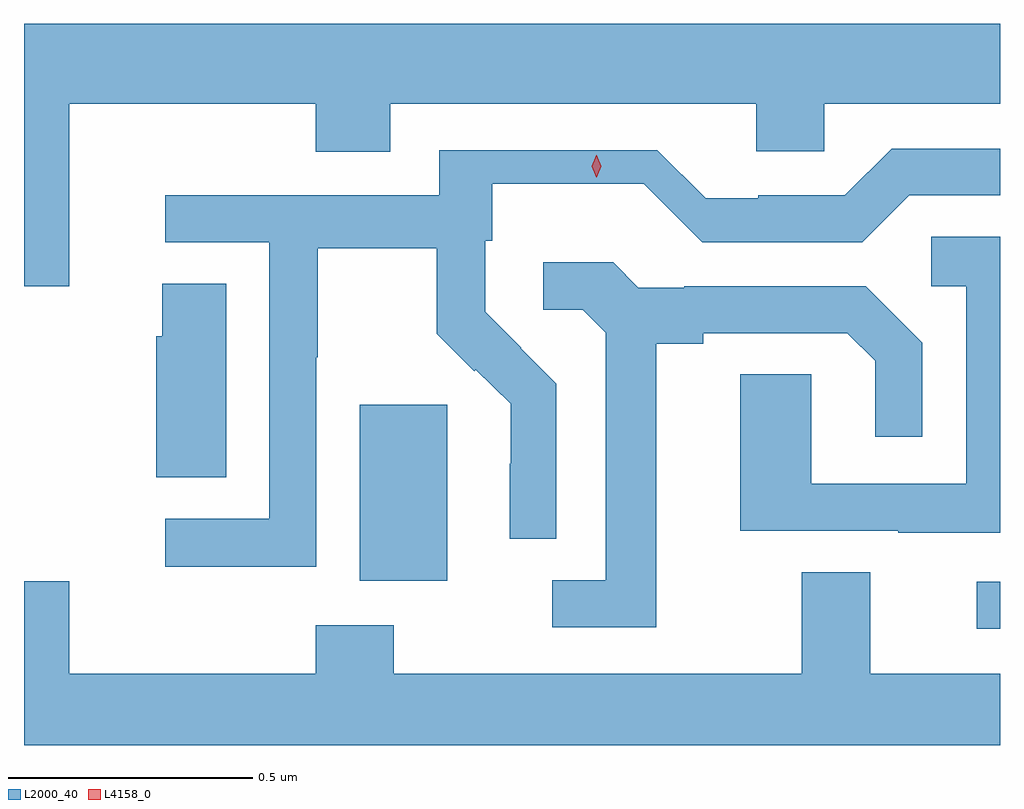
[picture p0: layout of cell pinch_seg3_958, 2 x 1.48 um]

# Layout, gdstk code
import gdstk
lib = gdstk.Library(unit=1e-6, precision=1e-09)
def R(c, l, rs):  # rectangles x0, y0, x1, y1
    for r in rs: c.add(gdstk.rectangle(r[:2], r[2:], *l))
def P(c, l, *ps):  # polygons
    for p in ps: c.add(gdstk.Polygon(p, *l))
L2000_40 = (2000, 40)
L4158_0 = (4158, 0)

pinch_seg3_958 = lib.new_cell('pinch_seg3_958')
R(pinch_seg3_958, L2000_40, [(514.683,745.128,514.731,745.224), (513.419,745.226,513.598,745.587)])
P(pinch_seg3_958, L2000_40, [(512.824,746.204),(513.329,746.204),(513.329,746.105),(513.481,746.105),(513.481,746.204),(514.232,746.204),(514.232,746.106),(514.371,746.106),(514.371,746.204),(514.731,746.204),(514.731,746.368),(512.731,746.368),(512.731,745.83),(512.824,745.83)],
  [(513.33,745.684),(513.333,745.684),(513.333,745.908),(513.577,745.908),(513.577,745.733),(513.654,745.656),(513.657,745.659),(513.728,745.589),(513.728,745.466),(513.726,745.466),(513.726,745.312),(513.822,745.312),(513.822,745.63),(513.749,745.703),(513.75,745.704),(513.676,745.778),(513.676,745.923),(513.691,745.923),(513.691,746.04),(514.001,746.04),(514.121,745.92),(514.449,745.92),(514.545,746.016),(514.731,746.016),(514.731,746.112),(514.509,746.112),(514.413,746.016),(514.236,746.016),(514.236,746.01),(514.128,746.01),(514.029,746.109),(513.582,746.109),(513.582,746.016),(513.02,746.016),(513.02,745.92),(513.234,745.92),(513.234,745.353),(513.02,745.353),(513.02,745.255),(513.33,745.255)],
  [(514.731,745.931),(514.59,745.931),(514.59,745.83),(514.662,745.83),(514.662,745.425),(514.344,745.425),(514.344,745.649),(514.199,745.649),(514.199,745.329),(514.523,745.329),(514.523,745.325),(514.731,745.325)],
  [(514.027,745.712),(514.123,745.712),(514.123,745.734),(514.418,745.734),(514.475,745.677),(514.475,745.521),(514.572,745.521),(514.572,745.714),(514.456,745.83),(514.084,745.83),(514.084,745.827),(513.99,745.827),(513.938,745.879),(513.795,745.879),(513.795,745.782),(513.876,745.782),(513.923,745.735),(513.923,745.227),(513.813,745.227),(513.813,745.131),(514.027,745.131)],
  [(513.145,745.835),(513.014,745.835),(513.014,745.727),(513.002,745.727),(513.002,745.438),(513.145,745.438)],
  [(514.731,745.036),(514.465,745.036),(514.465,745.244),(514.325,745.244),(514.325,745.036),(513.489,745.036),(513.489,745.135),(513.329,745.135),(513.329,745.036),(512.824,745.036),(512.824,745.225),(512.731,745.225),(512.731,744.889),(514.731,744.889)])
P(pinch_seg3_958, L4158_0, [(513.904,746.053),(513.904,746.053),(513.894,746.076),(513.904,746.098),(513.904,746.098),(513.905,746.098),(513.914,746.076),(513.905,746.053)])

lib.write_gds('pinch_seg3_958.gds')
